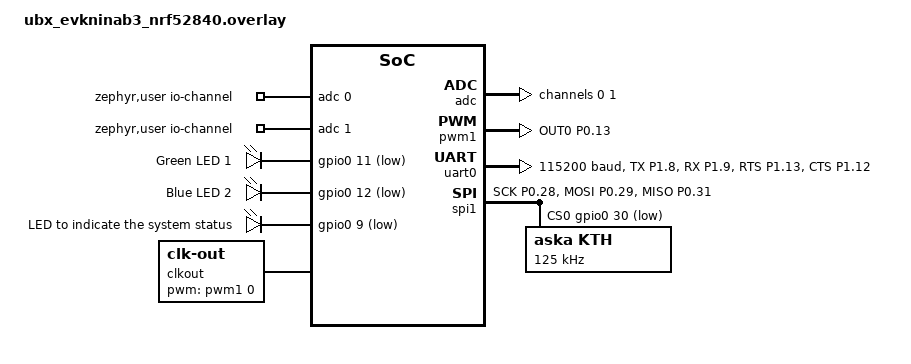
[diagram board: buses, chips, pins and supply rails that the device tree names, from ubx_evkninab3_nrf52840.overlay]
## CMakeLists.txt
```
#
# Copyright (c) 2024 Nordic Semiconductor
#
# SPDX-License-Identifier: LicenseRef-Nordic-5-Clause
#

cmake_minimum_required(VERSION 3.20.0)
find_package(Zephyr REQUIRED HINTS $ENV{ZEPHYR_BASE})

project(inter_less5_exer3)

#target_sources(app PRIVATE src/main.c)
FILE(GLOB app_sources src/*.c)
target_sources(app PRIVATE ${app_sources})
```

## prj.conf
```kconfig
#
# Copyright (c) 2024 Nordic Semiconductor
#
# SPDX-License-Identifier: LicenseRef-Nordic-5-Clause
#

CONFIG_LOG=y

CONFIG_SERIAL=y
CONFIG_CONSOLE=y
CONFIG_UART_CONSOLE=y

# STEP 1 - Enable nrfx drivers #
CONFIG_NRFX_SAADC=y
CONFIG_NRFX_GPPI=y
CONFIG_NRFX_TIMER=y

CONFIG_HEAP_MEM_POOL_SIZE=1024
```

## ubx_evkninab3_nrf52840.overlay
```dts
/* For more help, browse the devicetree documentation at https://docs.zephyrproject.org/latest/build/dts/index.html
 * You can also visit the nRF DeviceTree extension documentation at https://docs.nordicsemi.com/bundle/nrf-connect-vscode/page/guides/ncs_configure_app.html#devicetree-support-in-the-extension
 */
/*
/ {
	chosen {
		zephyr,console = &cdc_acm_uart0;
	};
};

&zephyr_udc0 {
	cdc_acm_uart0: cdc_acm_uart0 {
		compatible = "zephyr,cdc-acm-uart";
	};
};
*/
/ {
	chosen {
		nordic,nus-uart = &uart0;
	};
};
/ {
	zephyr,user {
		io-channels = <&adc 0>, <&adc 1>;
	};
};

&uicr {
    nfct-pins-as-gpios;
};


/ {
    leds {
		compatible = "gpio-leds";
		led1: led_1 {
			gpios = <&gpio0 11 GPIO_ACTIVE_LOW>;        /*GPIO_32 */
			label = "Green LED 1";
		};

		led2: led_2 {
			gpios = <&gpio0 12 GPIO_ACTIVE_LOW>;
			label = "Blue LED 2";
		};
	};
};

/ {
    custom_gpios{
        compatible = "custom-gpios";

        enhv: en_hv_pin{
            gpios = <&gpio0 14 GPIO_ACTIVE_LOW>;      /*GPIO_2 */
            label = "High voltage enable for ASKA";
        };

        resetn: resetn_pin{
            gpios = <&gpio0 10 GPIO_ACTIVE_LOW>;     /*GPIO_29 */
            label = "Reset for ASKA";
        };
    };
};

/ {
    test_led {
        compatible = "gpio-leds";

        status_led: status_led_pin{
            gpios = <&gpio0 9 GPIO_ACTIVE_LOW>;      /*GPIO_28 */
			label = "LED to indicate the system status";
        };
    };
};




&adc {
	#address-cells = <1>;
	#size-cells = <0>;
	status = "okay";

	//Sensor 1
	channel@0 {
		reg = <0>;
		zephyr,gain = "ADC_GAIN_1_6";
		zephyr,reference = "ADC_REF_INTERNAL";
		zephyr,acquisition-time = <ADC_ACQ_TIME_DEFAULT>;
		zephyr,input-positive = <NRF_SAADC_AIN0>;           /* GPIO_18 */
		zephyr,resolution = <12>;
	};

	//Sensor 2
	channel@1 {
		reg = <1>;
		zephyr,gain = "ADC_GAIN_1_6";
		zephyr,reference = "ADC_REF_INTERNAL";
		zephyr,acquisition-time = <ADC_ACQ_TIME_DEFAULT>;
		zephyr,input-positive = <NRF_SAADC_AIN2>;           /* GPIO_25 */
		zephyr,resolution = <12>;
	};
};


/{
    aliases{
        statusled = &status_led;
        enhv  = &enhv;
        resetn = &resetn;
    };
};

/ {
    clkout: clkout {
        compatible = "clk-out";
        pwms = <&pwm1 0 PWM_USEC(50) PWM_POLARITY_NORMAL>;
        min-pulse = <PWM_USEC(25)>;
        max-pulse = <PWM_USEC(25)>;
    };
};

&pwm1 {
    status = "okay";
    pinctrl-0 = <&pwm1_custom_clk>;
    pinctrl-1 = <&pwm1_csleep_clk>;
    pinctrl-names = "default", "sleep";
};


&uart0 {
	compatible = "nordic,nrf-uarte";
	status = "okay";
	current-speed = <115200>;
	pinctrl-0 = <&uart0_custom>;
	pinctrl-1 = <&uart0_csleep>;
	pinctrl-names = "default", "sleep";
};

&spi1 {
    compatible = "nordic,nrf-spi"; //using SPI as per ERRATA 58
    status = "okay";
    pinctrl-0 = <&spi1_default>;
    pinctrl-1 = <&spi1_sleep>;
    pinctrl-names = "default", "sleep";
    cs-gpios = <&gpio0 30 GPIO_ACTIVE_LOW>;             /*GPIO_24 */
   	aska: aska@0 {
        compatible = "aska,kth";
        reg = <0>;
        spi-max-frequency = <125000>;
    };
};


&pinctrl {
	uart0_custom: uart0_custom {
		group1 {
			psels = <NRF_PSEL(UART_TX, 1, 8)>,          /*GPIO_34 */
				<NRF_PSEL(UART_RX, 1, 9)>,              /*GPIO_33 */
				<NRF_PSEL(UART_RTS, 1, 13)>,            /*GPIO_22*/
				<NRF_PSEL(UART_CTS, 1, 12)>;            /*GPIO_21*/
		};
	};

	uart0_csleep: uart0_csleep {
		group1 {
			psels = <NRF_PSEL(UART_TX, 1, 8)>,          /*GPIO_34 */
				<NRF_PSEL(UART_RX, 1, 9)>,              /*GPIO_33 */
				<NRF_PSEL(UART_RTS, 1, 13)>,            /*GPIO_22*/
				<NRF_PSEL(UART_CTS, 1, 12)>;            /*GPIO_21*/
			low-power-enable;
		};
	};

	spi1_default: spi1_default {
        group1 {
            psels = <NRF_PSEL(SPIM_SCK, 0, 28)>,		/*GPIO_17  */
                    <NRF_PSEL(SPIM_MOSI, 0, 29)>,		/*GPIO_23 */
                    <NRF_PSEL(SPIM_MISO, 0, 31)>;		/*GPIO_20 */
        };
    };
    spi1_sleep: spi1_sleep {
        group1 {
            psels = <NRF_PSEL(SPIM_SCK, 0, 28)>,		/*GPIO_17 */
                    <NRF_PSEL(SPIM_MOSI, 0, 29)>,		/*GPIO_23 */
                    <NRF_PSEL(SPIM_MISO, 0, 31)>;		/*GPIO_20 */
            low-power-enable;
        };
    };

	pwm1_custom_clk: pwm1_custom_clk {
        group1 {
            psels = <NRF_PSEL(PWM_OUT0, 0, 13)>;         /*GPIO 1 */
            nordic,invert;
        };
    };
    pwm1_csleep_clk: pwm1_csleep_clk {
        group1 {
            psels = <NRF_PSEL(PWM_OUT0, 0, 13)>;         /*GPIO 1 */
            low-power-enable;
        };
    };

};



/ {
    chosen {
        zephyr,storage = &storage_partition;
    };
};
```

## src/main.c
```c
/*
 * Copyright (c) 2023 Nordic Semiconductor ASA
 *
 * SPDX-License-Identifier: LicenseRef-Nordic-5-Clause
 */

#include <zephyr/kernel.h>
#include <zephyr/logging/log.h>

#include <stdio.h>


#include "adc_timer_ppi.h"

#define SLEEP_TIME_MS   1000

//The following defines the stack size and priority for the ADC consumer thread
#define ADC_STACKSIZE		 2048
#define ADC_CONSUMER_THREAD_PRIORITY 7

static void receive_adc(void)
{
	
	while (1) {
		struct data_item_t *rec_item;
		rec_item = k_fifo_get(&ADCfifo, K_FOREVER);
		//printk("Consumer: %s\tSize: %u\n", rec_item->data, rec_item->len);
        printk("Consumer: size: %u\n", rec_item->len);
        printk("Data[0]: %u\n", rec_item->data[0]);

        /*
        for (int i = 0; i < rec_item->len; i++) {
            printk("Data[%d]: %u\n", i, rec_item->data[i]);
        }
        */

		k_free(rec_item);
	}
}

int main(void)
{
    //test();
    configure_timer();
    configure_saadc();  
    configure_ppi();

    //k_sleep(K_FOREVER);

    while (1) {
		
		k_msleep(SLEEP_TIME_MS);	
        //sendADCdata();

	}
}

K_THREAD_DEFINE(receive_adc_thread, ADC_STACKSIZE, receive_adc, NULL, NULL, NULL, ADC_CONSUMER_THREAD_PRIORITY, 0,0);
```

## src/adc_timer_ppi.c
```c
#include "adc_timer_ppi.h"
#include <zephyr/sys/printk.h> 
#include <stdio.h>

/* STEP 3.1 - Define the SAADC sample interval in microseconds */
#define SAADC_SAMPLE_INTERVAL_US 50

/* STEP 4.1 - Define the buffer size for the SAADC */
#define SAADC_BUFFER_SIZE 80

/* STEP 4.6 - Declare the struct to hold the configuration for the SAADC channel used to sample the battery voltage */
#define SAADC_INPUT_PIN NRFX_ANALOG_EXTERNAL_AIN0
static nrfx_saadc_channel_t channel = NRFX_SAADC_DEFAULT_CHANNEL_SE(SAADC_INPUT_PIN, 0);

/* STEP 3.2 - Declaring an instance of nrfx_timer for TIMER2. */
#define TIMER_INSTANCE_NUMBER NRF_TIMER2
static nrfx_timer_t timer_instance = NRFX_TIMER_INSTANCE(TIMER_INSTANCE_NUMBER);

/* STEP 4.2 - Declare the buffers for the SAADC */
static int16_t saadc_sample_buffer[2][SAADC_BUFFER_SIZE];

/* STEP 4.3 - Declare variable used to keep track of which buffer was last assigned to the SAADC driver */
static uint32_t saadc_current_buffer = 0;

/**
 * ADC FIFO RELATED CODE
 */
 
 K_FIFO_DEFINE(ADCfifo);

 uint16_t ADC_data[MAX_DATA_SIZE];
 uint16_t ADC_data_counter = 0;

void test()
{
    //LOG_ERR("TEST");
    printk("TEST\n");
}

void configure_timer(void)
{
    int err;

    /* STEP 3.3 - Declaring timer config and intialize nrfx_timer instance. */
    nrfx_timer_config_t timer_config = NRFX_TIMER_DEFAULT_CONFIG(1000000);

    err = nrfx_timer_init(&timer_instance, &timer_config, NULL);
    if (err != 0) {
	    printk("nrfx_timer_init error: %08x\n", err);
	    return;
    }

    /* STEP 3.4 - Set compare channel 0 to generate event every SAADC_SAMPLE_INTERVAL_US. */
    uint32_t timer_ticks = nrfx_timer_us_to_ticks(&timer_instance, SAADC_SAMPLE_INTERVAL_US);
    nrfx_timer_extended_compare(&timer_instance, NRF_TIMER_CC_CHANNEL0, timer_ticks, NRF_TIMER_SHORT_COMPARE0_CLEAR_MASK, false);

}

void saadc_event_handler(nrfx_saadc_evt_t const * p_event)
{
    int err;
    switch (p_event->type)
    {
        case NRFX_SAADC_EVT_READY:
        
           /* STEP 5.1 - Buffer is ready, timer (and sampling) can be started. */
            nrfx_timer_enable(&timer_instance);

            break;                        
            
        case NRFX_SAADC_EVT_BUF_REQ:
        
            /* STEP 5.2 - Set up the next available buffer. Alternate between buffer 0 and 1 */
        err = nrfx_saadc_buffer_set(saadc_sample_buffer[(saadc_current_buffer++)%2], SAADC_BUFFER_SIZE);
        if (err != 0) {
            printk("nrfx_saadc_buffer_set error: %08x\n", err);
            return;
        }

            break;

        case NRFX_SAADC_EVT_DONE:

            /* STEP 5.3 - Buffer has been filled. Do something with the data and proceed */
            int64_t average = 0;
            int16_t max = INT16_MIN;
            int16_t min = INT16_MAX;
            int16_t current_value;
            for (int i = 0; i < p_event->data.done.size; i++) {
	            current_value = ((int16_t *)(p_event->data.done.p_buffer))[i];
	            average += current_value;
	            if (current_value > max) {
		            max = current_value;
	            }
	            if (current_value < min) {
		            min = current_value;
	            }
            }
            average = average / p_event->data.done.size;
            //printk("SAADC buffer at 0x%x filled with %d samples\n", (uint32_t)p_event->data.done.p_buffer,
	        //    p_event->data.done.size);
            //printk("AVG=%d, MIN=%d, MAX=%d\n", (int16_t)average, min, max);

            /***************************
             * SAULS CODE STARTS HERE            
             */

            sendADCdata((int16_t)average);

            /************************
             * SAULS CODE ENDS HERE
             */

            break;

        default:
            printk("Unhandled SAADC evt %d\n", p_event->type);
            break;
    }
}

void configure_saadc(void)
{
    int err;

    /* STEP 4.4 - Connect ADC interrupt to nrfx interrupt handler */
    IRQ_CONNECT(DT_IRQN(DT_NODELABEL(adc)),
            DT_IRQ(DT_NODELABEL(adc), priority),
            nrfx_isr, nrfx_saadc_irq_handler, 0);

    /* STEP 4.5 - Initialize the nrfx_SAADC driver */
    err = nrfx_saadc_init(DT_IRQ(DT_NODELABEL(adc), priority));
    if (err != 0) {
        printk("nrfx_saadc_init error: %08x\n", err);
        return;
    }


    /* STEP 4.7 - Change gain config in default config and apply channel configuration */
    channel.channel_config.gain = NRF_SAADC_GAIN1_6;

    /**
     * SAULS CODE STARTS HERE
     */
        // Here we can set the desired acquisition time (e.g., 10 microseconds)
    //channel.channel_config.acq_time = NRF_SAADC_ACQTIME_10US;
    /**
     * SAULS CODE ENDS HERE
     */
    
    err = nrfx_saadc_channels_config(&channel, 1);
    if (err != 0) {
        printk("nrfx_saadc_channels_config error: %08x\n", err);
        return;
    }

    /* STEP 4.8 - Configure channel 0 in advanced mode with event handler (non-blocking mode) */
    nrfx_saadc_adv_config_t saadc_adv_config = NRFX_SAADC_DEFAULT_ADV_CONFIG;
    err = nrfx_saadc_advanced_mode_set(BIT(0),
                                    NRF_SAADC_RESOLUTION_12BIT,
                                    &saadc_adv_config,
                                    saadc_event_handler);
    if (err != 0) {
        printk("nrfx_saadc_advanced_mode_set error: %08x\n", err);
        return;
    }

    /* STEP 4.9 - Configure two buffers to make use of double-buffering feature of SAADC */
    err = nrfx_saadc_buffer_set(saadc_sample_buffer[0], SAADC_BUFFER_SIZE);
    if (err != 0) {
        printk("nrfx_saadc_buffer_set error: %08x\n", err);
        return;
    }
    err = nrfx_saadc_buffer_set(saadc_sample_buffer[1], SAADC_BUFFER_SIZE);
    if (err != 0) {
        printk("nrfx_saadc_buffer_set error: %08x\n", err);
        return;
    }

    /* STEP 4.10 - Trigger the SAADC. This will not start sampling, but will prepare buffer for sampling triggered through PPI */
    err = nrfx_saadc_mode_trigger();
    if (err != 0) {
      printk("nrfx_saadc_mode_trigger error: %08x\n", err);
    return;
    }

}

void configure_ppi(void)
{
    int err;
    /* STEP 6.1 - Declare variables used to hold the (D)PPI channel number */
    nrfx_gppi_handle_t gppi_handle_sample;
    nrfx_gppi_handle_t gppi_handle_start;

    /* STEP 6.2 - Trigger task sample from timer */
    err = nrfx_gppi_conn_alloc(nrfx_timer_compare_event_address_get(&timer_instance, NRF_TIMER_CC_CHANNEL0),
                              nrf_saadc_task_address_get(NRF_SAADC, NRF_SAADC_TASK_SAMPLE), &gppi_handle_sample);
    if (err != 0) {
        printk("nrfx_gppi_conn_alloc error: %08x\n", err);
        return;
    }


    /* STEP 6.3 - Trigger task start from end event */
        err = nrfx_gppi_conn_alloc(nrf_saadc_event_address_get(NRF_SAADC, NRF_SAADC_EVENT_END),
                               nrf_saadc_task_address_get(NRF_SAADC, NRF_SAADC_TASK_START), &gppi_handle_start);
    if (err != 0) {
        printk("nrfx_gppi_conn_alloc error: %08x\n", err);
        return;
    }

    /* STEP 6.4 - Enable both (D)PPI channels */ 
    nrfx_gppi_conn_enable(gppi_handle_sample);
    nrfx_gppi_conn_enable(gppi_handle_start);

}

/**
 * FIFO RELATED CODE
 */

void sendADCdata(int16_t adc_value)
{
    struct data_item_t *item;    

    //Data is converted to uint16_t and stored in the ADC_data array. If the value is negative, it is stored as 0.
    if (adc_value > 0) {
        ADC_data[ADC_data_counter++] = (uint16_t)adc_value;
    } else {
        ADC_data[ADC_data_counter++] = 0;                  
    }

    //printk("ADC_data_counter = %u, adc_value = %d\n", ADC_data_counter, adc_value);
    
    if (ADC_data_counter >= MAX_DATA_SIZE) {
        //struct data_item_t *item;
        item = k_malloc(sizeof(struct data_item_t));
        if (!item) {
            printk("Failed to allocate memory for item\n");
            return;
        }
        item->len = ADC_data_counter;
        memcpy(item->data, ADC_data, sizeof(uint16_t) * ADC_data_counter);
        printk("Sending ADC data to FIFO: size: %u\n", item->len);
        k_fifo_put(&ADCfifo, item);
        ADC_data_counter = 0;
    }
}

 /*

 
void sendADCdata()
{
    struct data_item_t *item;    

    for (int i = 0; i < MAX_DATA_SIZE; i++) {
        ADC_data[i] = i;
        ADC_data_counter++;
        //printk("ADC_data[%d] = %u\n", i, ADC_data[i]);
    }
    
    if (ADC_data_counter >= MAX_DATA_SIZE) {
        //struct data_item_t *item;
        item = k_malloc(sizeof(struct data_item_t));
        if (!item) {
            printk("Failed to allocate memory for item\n");
            return;
        }
        item->len = ADC_data_counter;
        memcpy(item->data, ADC_data, sizeof(uint16_t) * ADC_data_counter);
        k_fifo_put(&ADCfifo, item);
        ADC_data_counter = 0;
    }
}
*/
```
